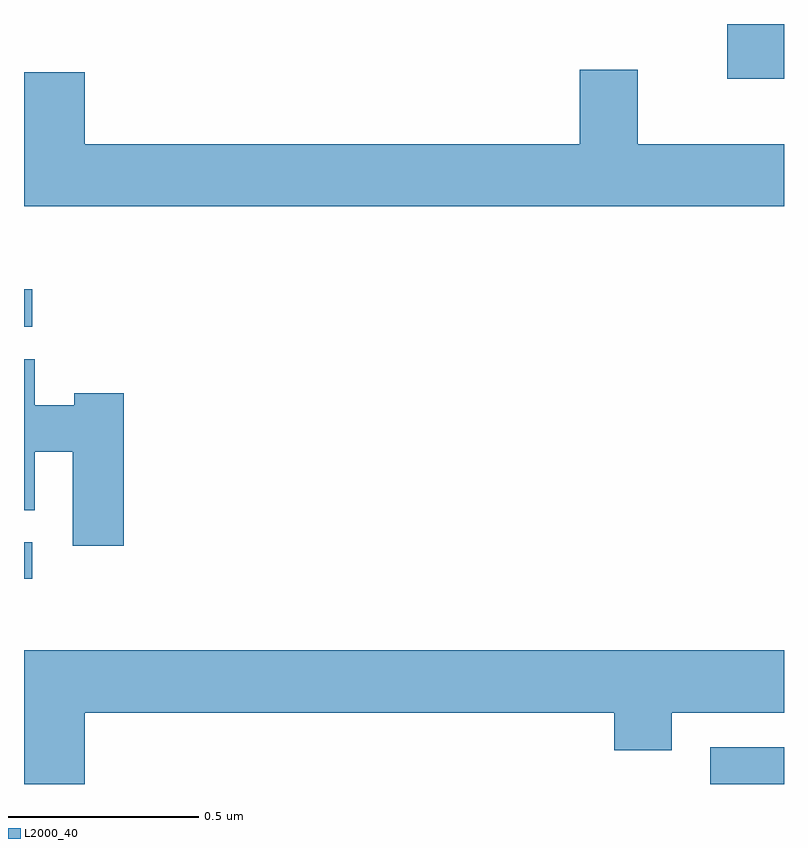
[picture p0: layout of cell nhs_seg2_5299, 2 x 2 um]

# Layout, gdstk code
import gdstk
lib = gdstk.Library(unit=1e-6, precision=1e-09)
def R(c, l, rs):  # rectangles x0, y0, x1, y1
    for r in rs: c.add(gdstk.rectangle(r[:2], r[2:], *l))
def P(c, l, *ps):  # polygons
    for p in ps: c.add(gdstk.Polygon(p, *l))
L2000_40 = (2000, 40)

nhs_seg2_5299 = lib.new_cell('nhs_seg2_5299')
R(nhs_seg2_5299, L2000_40, [(178.806,628.8,179,628.897), (177,629.34,177.022,629.436), (177,630.003,177.022,630.102), (178.85,630.656,179,630.8)])
P(nhs_seg2_5299, L2000_40, [(179,630.484),(178.615,630.484),(178.615,630.679),(178.463,630.679),(178.463,630.484),(177.16,630.484),(177.16,630.673),(177,630.673),(177,630.32),(179,630.32)],
  [(177.263,629.828),(177.132,629.828),(177.132,629.797),(177.028,629.797),(177.028,629.918),(177,629.918),(177,629.521),(177.028,629.521),(177.028,629.675),(177.128,629.675),(177.128,629.427),(177.263,629.427)],
  [(177.16,628.988),(178.553,628.988),(178.553,628.889),(178.705,628.889),(178.705,628.988),(179,628.988),(179,629.152),(177,629.152),(177,628.8),(177.16,628.8)])

lib.write_gds('nhs_seg2_5299.gds')
